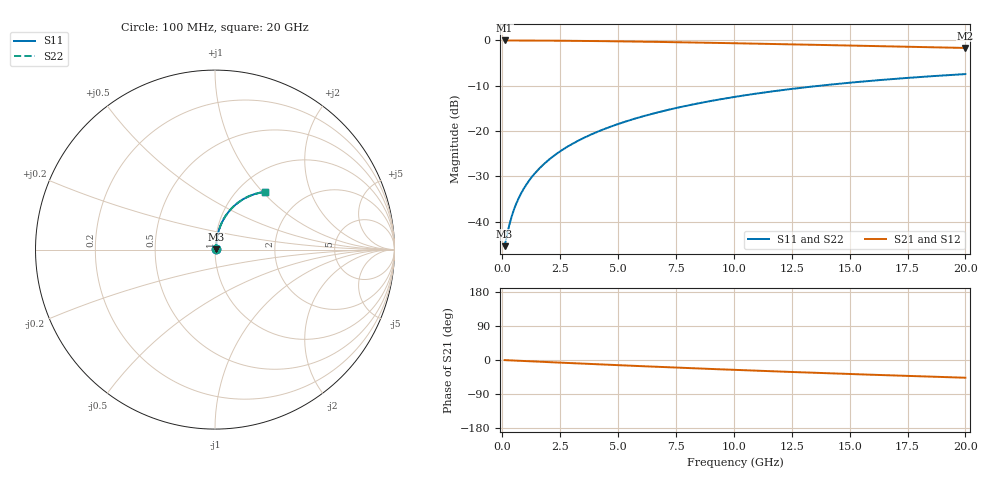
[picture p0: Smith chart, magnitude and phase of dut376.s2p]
! Touchstone file exported from HFSS 2024.1.0
!  File:  C:/UserFiles/LocalFiles/RDL_TSV_Batchsim/temp_RDL_bottom_376_1779613570.aedt
!  Generated:  05:09:22 PM May 24, 2026
!  Design:  RDL_bottom
!  Project:  temp_RDL_bottom_376_1779613570
!  Setup:  Setup1
!  Solution:  Sweep
! Variables:
!  dtsv = 10.80580581um
!  hbump = 3um
!  htsv = 58.5um
!  ldown = 691.63um
!  lrdl = 100um
!  p = 40
!  p1 = 41.36um
!  rhole = 1um
!  t = 450um
!  tdown = 3.11um
!  trdl = 3.915915916um
!  wdown = 17.29um
!  wrdl = 20um
# GHz S MA R 50.000000
! Terminal data exported
! Port[1] = RDL1_T1
! Port[2] = RDL1_T2
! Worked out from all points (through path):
!   200 points, 100 MHz to 20 GHz, reference 50 ohm
!   highest |S21| = -0.04 dB at 100 MHz (marker M1); lowest = -1.7 dB at 20 GHz (marker M2)
!   group delay of S21, straight-line fit = 6.48 ps
!   lowest |S11| = -45.4 dB at 100 MHz (marker M3), VSWR 1.01, Z = 50.5 + j0.261 ohm
!   |S11| at or under -10 dB: start of sweep to 13.75 GHz
!   |S22| runs from -45.4 to -7.5 dB; largest |S21 - S12| = 5.1e-15
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0.1  0.005364 28.8  0.9953 -0.3  0.9953 -0.3  0.005364 28.8
! Gamma 0 0 0 0
! Port Impedance 50 0 50 0
0.3  0.009116 56.4  0.9949 -0.9  0.9949 -0.9  0.009116 56.4
0.4  0.01129 62.3  0.9947 -1.2  0.9947 -1.2  0.01129 62.3
0.5  0.01351 66.1  0.9945 -1.4  0.9945 -1.4  0.01351 66.1
0.6  0.01573 68.9  0.9943 -1.7  0.9943 -1.7  0.01573 68.9
0.8  0.02022 72.7  0.9938 -2.3  0.9938 -2.3  0.02022 72.7
1  0.02475 75.1  0.9934 -2.8  0.9934 -2.8  0.02475 75.1
1.2  0.02932 76.7  0.9929 -3.4  0.9929 -3.4  0.02933 76.7
1.4  0.03393 77.8  0.9924 -3.9  0.9924 -3.9  0.03393 77.8
1.7  0.04089 78.9  0.9915 -4.7  0.9915 -4.7  0.04089 78.9
2.2  0.05258 79.9  0.9898 -6.1  0.9898 -6.1  0.05258 79.8
2.8  0.06673 80.1  0.9872 -7.8  0.9872 -7.8  0.06673 80.1
3.5  0.08335 79.9  0.9835 -9.7  0.9835 -9.7  0.08335 79.9
4.2  0.1001 79.2  0.9792 -11.5  0.9792 -11.5  0.1001 79.2
5  0.1192 78.2  0.9736 -13.6  0.9736 -13.6  0.1192 78.2
5.9  0.1408 76.8  0.9665 -16.0  0.9665 -16.0  0.1408 76.8
6.8  0.1623 75.3  0.9587 -18.2  0.9587 -18.2  0.1623 75.3
8.4  0.2 72.3  0.9438 -22.2  0.9438 -22.2  0.2 72.2
10.1  0.2389 68.8  0.9267 -26.2  0.9267 -26.2  0.2389 68.8
13.4  0.3092 62.1  0.892 -33.6  0.892 -33.6  0.3091 62.0
16.7  0.371 55.5  0.8568 -40.4  0.8568 -40.4  0.3709 55.5
20  0.4238 49.3  0.8227 -46.8  0.8227 -46.8  0.4237 49.2
